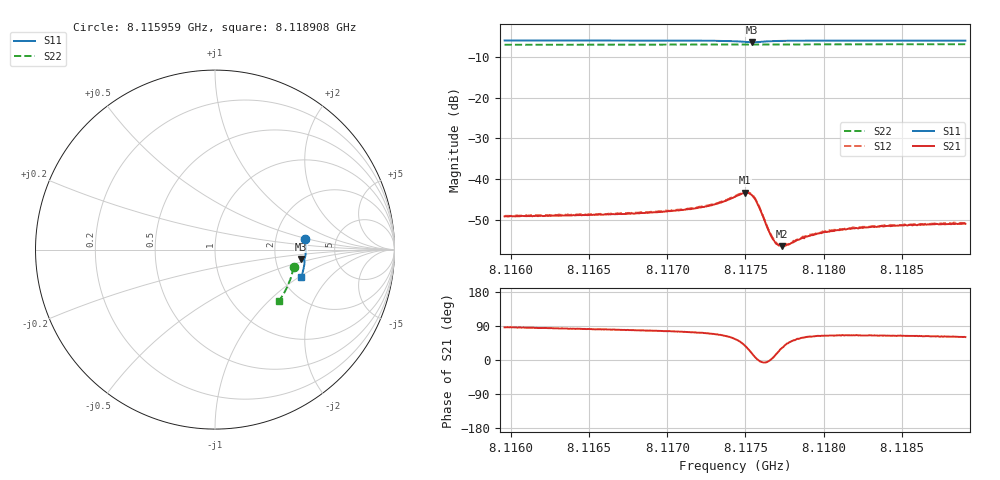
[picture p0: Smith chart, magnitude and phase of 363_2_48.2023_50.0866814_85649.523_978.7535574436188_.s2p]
#  HZ  S  RI  R  50.00
! Rohde & Schwarz Vector Network Analyzer
! Rohde-Schwarz,ZNB20-2Port,1311601062101988,3.16
! Created: UTC 3/20/2024, 11:52:17 AM
! freq[Hz]  re:S11  im:S11  re:S21  im:S21  re:S12  im:S12  re:S22  im:S22
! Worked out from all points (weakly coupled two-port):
!   401 points, 8.115959 GHz to 8.118908 GHz, reference 50 ohm
!   highest |S21| = -43.32 dB at 8.1175 GHz (marker M1); lowest = -56.5 dB at 8.117736 GHz (marker M2)
!   lowest |S11| = -6.4 dB at 8.117544 GHz (marker M3), VSWR 2.86, Z = 140 - j18.8 ohm
!   |S11| at or under -10 dB: nowhere
!   |S22| runs from -7.0 to -6.8 dB; largest |S21 - S12| = 0.00019
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8.1159591e9  0.5037 0.0611  0.000227 0.00347  0.000265 0.0035  0.4377 -0.0983
8.116453e9  0.5062 0.0241  0.000492 0.00357  0.000569 0.00364  0.4301 -0.1318
8.116947e9  0.5056 -0.0139  0.000903 0.00385  0.000995 0.00391  0.42 -0.1647
8.1171092e9  0.5044 -0.027  0.00113 0.00406  0.0012 0.00409  0.4161 -0.1754
8.1172493e9  0.5024 -0.0389  0.00151 0.00437  0.00161 0.00445  0.4125 -0.1846
8.1173303e9  0.5003 -0.0467  0.00203 0.00465  0.00206 0.00473  0.4103 -0.1898
8.1174336e9  0.4933 -0.0568  0.00345 0.00498  0.00355 0.00505  0.4073 -0.1964
8.1174999e9  0.4832 -0.0587  0.00547 0.00408  0.00556 0.00409  0.4048 -0.2004
8.117522e9  0.4797 -0.056  0.00599 0.00307  0.00615 0.00306  0.4041 -0.2018
8.1175441e9  0.4784 -0.0516  0.00606 0.00174  0.0062 0.00171  0.4036 -0.203
8.117581e9  0.4825 -0.0458  0.00485 1.97e-05  0.00488 -2.38e-05  0.4028 -0.2049
8.1176474e9  0.4931 -0.0482  0.00237 -0.000141  0.00239 -0.000161  0.4014 -0.2089
8.1176768e9  0.4958 -0.0516  0.00181 0.000195  0.00185 0.000181  0.4005 -0.211
8.1177063e9  0.4972 -0.0551  0.00148 0.00053  0.0015 0.000527  0.3998 -0.213
8.1177358e9  0.4981 -0.0584  0.00127 0.000803  0.00134 0.000813  0.3989 -0.2149
8.1177801e9  0.4988 -0.063  0.00109 0.00115  0.00111 0.00117  0.3976 -0.2176
8.1178759e9  0.4988 -0.0721  0.000951 0.00162  0.000999 0.00167  0.3945 -0.2237
8.1179275e9  0.4985 -0.0767  0.000969 0.00181  0.001 0.00184  0.3929 -0.227
8.1180455e9  0.4972 -0.0866  0.000984 0.00209  0.00104 0.00209  0.3889 -0.2343
8.1181487e9  0.4958 -0.0946  0.00101 0.00221  0.00106 0.00225  0.3854 -0.2407
8.1184214e9  0.4914 -0.1153  0.00116 0.0024  0.00115 0.00244  0.3755 -0.2571
8.118908e9  0.4813 -0.1505  0.00139 0.00246  0.00143 0.00251  0.3564 -0.2854
